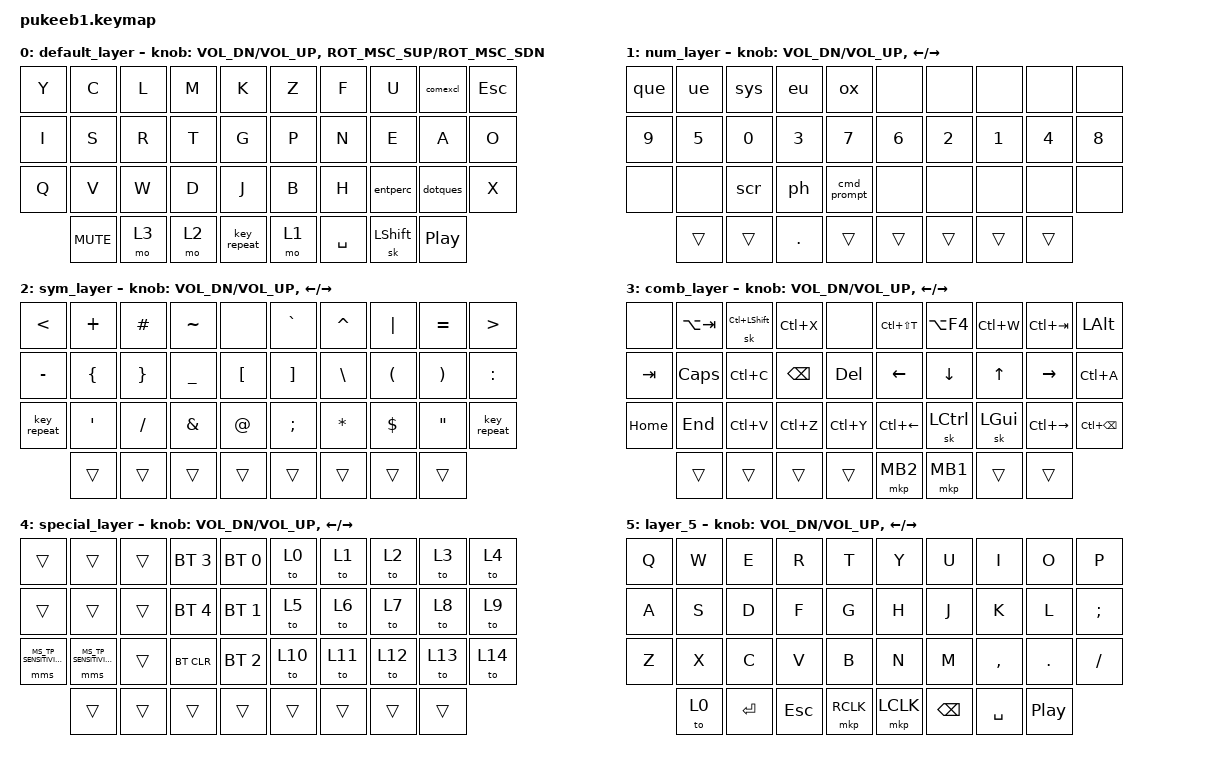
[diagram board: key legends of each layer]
// Copyright (c) 2022 The ZMK Contributors
// SPDX-License-Identifier: MIT

#include <behaviors.dtsi>
#include <dt-bindings/zmk/keys.h>
#include <dt-bindings/zmk/mouse.h>
#include <dt-bindings/zmk/bt.h>

// Rotary Endocer for mouse scrolling
#define ROT_MSC_VAL 280
#define ROT_MSC_SUP MOVE_Y(ROT_MSC_VAL)
#define ROT_MSC_SDN MOVE_Y(-ROT_MSC_VAL)
#define ROT_MSC_SLT MOVE_X(-ROT_MSC_VAL)
#define ROT_MSC_SRT MOVE_X(ROT_MSC_VAL)


#define U_MSS_TP_S_I &mms MS_TP_SENSITIVITY_INCR
#define U_MSS_TP_S_D &mms MS_TP_SENSITIVITY_DECR

/ {
	behaviors {
        ht: hold_tap {
            display-name = "Hold Tap";
            label = "hold_tap";
            compatible = "zmk,behavior-hold-tap";
            #binding-cells = <2>;
            flavor = "balanced";
            tapping-term-ms = <220>;
            quick-tap-ms = <200>;
            // global-quick-tap;
            bindings = <&kp>, <&kp>;
        };
        lt: layer_tap {
            display-name = "Layer Tap";
            compatible = "zmk,behavior-hold-tap";
            label = "LAYER_TAP";
            #binding-cells = <2>;
            // flavor = "balanced";
            tapping-term-ms = <200>;
            quick-tap-ms = <200>;
            // global-quick-tap;
            bindings = <&mo>, <&kp>;
        };
        rot_msc: sensor_rotate_msc {
            compatible = "zmk,behavior-sensor-rotate-var";
            #sensor-binding-cells = <2>;
            bindings = <&msc>, <&msc>;
            tap-ms = <20>;
        };
        comexcl: comma_excl {
            compatible = "zmk,behavior-mod-morph";
            #binding-cells = <0>;
            bindings = <&kp COMMA>, <&kp EXCL>;
            mods = <(MOD_LSFT)>;
        };
        dotques: dot_question {
            compatible = "zmk,behavior-mod-morph";
            #binding-cells = <0>;
            bindings = <&kp DOT>, <&kp QUESTION>;
            mods = <(MOD_LSFT)>;
        };
        entperc: enter_percentage {
            compatible = "zmk,behavior-mod-morph";
            #binding-cells = <0>;
            bindings = <&kp ENTER>, <&kp PERCENT>;
            mods = <(MOD_LSFT)>;
        };
    };

    combos {
        compatible = "zmk,combos";
        combo_tab {
            timeout-ms = <50>;
            key-positions = <2 3>;
            bindings = <&kp TAB>;
        };
        middle_click {
            timeout-ms = <50>;
            key-positions = <33 34>;
            bindings = <&mkp MCLK>;
        };
    };

    macros {
        ue: ue {
            compatible = "zmk,behavior-macro";
            #binding-cells = <0>;
            bindings = <&macro_tap &kp U &kp E>;
        };
        eu: eu {
            compatible = "zmk,behavior-macro";
            #binding-cells = <0>;
            bindings = <&macro_tap &kp E &kp U>;
        };
        ox: ox {
            compatible = "zmk,behavior-macro";
            #binding-cells = <0>;
            bindings = <&macro_tap &kp O &kp X>;
        };
        ph: ph {
            compatible = "zmk,behavior-macro";
            #binding-cells = <0>;
            bindings = <&macro_tap &kp P &kp H>;
        };
        que: que {
            compatible = "zmk,behavior-macro";
            #binding-cells = <0>;
            bindings = <&macro_tap &kp Q &kp U &kp E>;
        };
        sys: sys {
            compatible = "zmk,behavior-macro";
            #binding-cells = <0>;
            bindings = <&macro_tap &kp S &kp Y &kp S>;
        };
        scr: scr{
            compatible = "zmk,behavior-macro";
            #binding-cells = <0>;
            bindings = <&macro_tap &kp S &kp C &kp R>;
        };
        cmd_prompt: cmd_prompt {
            compatible = "zmk,behavior-macro";
            #binding-cells = <0>;  
            bindings 
                = <&macro_tap &kp LG(R)>
                , <&macro_tap &kp C &kp M &kp D>
                , <&macro_tap &kp ENTER>
                ;
        };
    };

    conditional_layers {
        compatible = "zmk,conditional-layers";
        special_layer {
            if-layers = <1 2>;
            then-layer = <4>;
        };
    };

    keymap {
        compatible = "zmk,keymap";
        default_layer {
            bindings = <
        //╭──────────┬──────────┬──────────┬──────────┬──────────╮   ╭──────────┬──────────┬──────────┬──────────┬──────────╮
        //│  Y       │  C       │  L       │  M       │  K       │   │  Z       │  F       │  U       │  , !     │   ESC    │
            &kp Y      &kp C      &kp L      &kp M      &kp K          &kp Z      &kp F      &kp U      &comexcl   &kp ESC
        //├──────────┼──────────┼──────────┼──────────┼──────────┤   ├──────────┼──────────┼──────────┼──────────┼──────────┤
        //│  I       │  S       │  R       │  T       │  G       │   │  P       │  N       │  E       │  A       │   O      │
            &kp I      &kp S      &kp R      &kp T      &kp G          &kp P      &kp N      &kp E      &kp A      &kp O
        //├──────────┼──────────┼──────────┼──────────┼──────────┤   ├──────────┼──────────┼──────────┼──────────┼──────────┤
        //│  Q       │  V       │  W       │  D       │  J       │   │  B       │  H       │  ENTER % │  . ?     │   X      |
            &kp Q      &kp V      &kp W      &kp D      &kp J          &kp B      &kp H      &entperc   &dotques   &kp X
        //╰──────────┴──────────┴──────────┼──────────┼──────────┤   ├──────────┼──────────┼──────────┴──────────┴──────────╯
                       &kp C_MUTE &mo 3      &mo 2      &key_repeat    &mo  1     &kp SPACE  &sk LSHIFT &kp C_PP
        //           ╰──────────┴──────────┴──────────┴──────────╯   ╰──────────┴──────────┴──────────┴──────────╯
            >;
            // sensor-bindings = <&inc_dec_kp C_VOL_DN C_VOL_UP &inc_dec_kp LEFT RIGHT>;
            // sensor-bindings = <&rot_msc ROT_MSC_SUP ROT_MSC_SDN &rot_msc ROT_MSC_SLT ROT_MSC_SRT>;
            sensor-bindings = <&inc_dec_kp C_VOL_DN C_VOL_UP &rot_msc ROT_MSC_SUP ROT_MSC_SDN>;
        };

        num_layer {
            bindings = <
        //╭──────────┬──────────┬──────────┬──────────┬──────────╮   ╭──────────┬──────────┬──────────┬──────────┬──────────╮
        //│          |          │          │          │          │   │          │          │          │          │          │
            &que        &ue        &sys       &eu       &ox          &none     &none       &none      &none      &none   
        //├──────────┼──────────┼──────────┼──────────┼──────────┤   ├──────────┼──────────┼──────────┼──────────┼──────────┤
        //│ 9        │ 5        │  0       │  3       │ 7        │   │ 6        │ 2        │ 1        │ 4        │  8       │
            &kp N9     &kp N5      &kp N0     &kp N3    &kp N7         &kp N6     &kp N2     &kp N1     &kp N4     &kp N8   
        //├──────────┼──────────┼──────────┼──────────┼──────────┤   ├──────────┼──────────┼──────────┼──────────┼──────────┤
        //│          |          │          │          │          │   │          │          │          │          │          │
            &none      &none       &scr       &ph       &cmd_prompt    &none      &none       &none      &none     &none   
        //╰──────────┴──────────┴──────────┼──────────┼──────────┤   ├──────────┼──────────┼──────────┴──────────┴──────────╯
                        &trans     &trans    &kp DOT    &trans         &trans     &trans     &trans      &trans
        //           ╰──────────┴──────────┴──────────┴──────────╯   ╰──────────┴──────────┴──────────┴──────────╯
            >;
            sensor-bindings = <&inc_dec_kp C_VOL_DN C_VOL_UP &inc_dec_kp LEFT RIGHT>;
        };

        sym_layer {
            bindings = <
        //╭──────────┬──────────┬──────────┬──────────┬──────────╮   ╭──────────┬──────────┬──────────┬──────────┬──────────╮
        //│  <       │  +       │  #       │  ~       │          │   │  `       │  ^       │  |       │  =       │  >       │
            &kp LT      &kp PLUS   &kp HASH   &kp TILDE  &none          &kp GRAVE &kp CARET  &kp PIPE   &kp EQUAL  &kp GT
        //├──────────┼──────────┼──────────┼──────────┼──────────┤   ├──────────┼──────────┼──────────┼──────────┼──────────┤
        //│  -       │  {       │  }       │  _       │  [       │   │  ]       │  \       │  (       │  )       │  :       │  
            &kp MINUS   &kp LBRC   &kp RBRC   &kp UNDER &kp LBKT       &kp RBKT   &kp BSLH   &kp LPAR   &kp RPAR   &kp COLON
        //├──────────┼──────────┼──────────┼──────────┼──────────┤   ├──────────┼──────────┼──────────┼──────────┼──────────┤
        //│  repeat  │  '       │  /       │  &       │  @       │   │  ;       │  *       │  $       │  "       │  repeat  |
            &key_repeat &kp APOS   &kp FSLH   &kp AMPS  &kp AT         &kp SEMI   &kp ASTRK  &kp DLLR   &kp DQT    &key_repeat
        //╰──────────┴──────────┴──────────┼──────────┼──────────┤   ├──────────┼──────────┼──────────┴──────────┴──────────╯
                        &trans     &trans     &trans    &trans         &trans     &trans     &trans     &trans
        //           ╰──────────┴──────────┴──────────┴──────────╯   ╰──────────┴──────────┴──────────┴──────────╯
            >;
            sensor-bindings = <&inc_dec_kp C_VOL_DN C_VOL_UP &inc_dec_kp LEFT RIGHT>;
        };

        comb_layer {
            bindings = <
        //╭──────────┬─────────────────┬────────────────┬────────────────────┬─────────────╮   ╭──────────────┬───────────────┬─────────────┬─────────────────┬────────────────╮
        //│          | Toggle Program  │  Ctrl + Shift  │  Cut               │             │   │ Reopen Tab   │ Close Program │ Close Tab   │  Switch Tab     │ LALT           │
            &none      &kp LA(TAB)        &sk LC(LSHIFT)    &kp LC(X)           &none              &kp LC(LS(T))   &kp LA(F4)   &kp LC(W)     &kp LC(TAB)       &kp LALT 
        //├──────────┼─────────────────┼────────────────┼────────────────────┼─────────────┤   ├──────────────┼───────────────┼─────────────┼─────────────────┼────────────────┤
        //│ TAB      │  CAPS           │  Copy          │  BACKSPACE         │ DELETE      │   │ Left         │ Down          │ Up          │ Right           │ Select All     │
            &kp TAB    &kp CAPS           &kp LC(C)         &kp BACKSPACE       &kp DEL            &kp LEFT        &kp DOWN        &kp UP        &kp RIGHT         &kp LC(A)
        //├──────────┼─────────────────┼────────────────┼────────────────────┼─────────────┤   ├──────────────┼───────────────┼─────────────┼─────────────────┼────────────────┤
        //│ HOME     │  END            │  Paste         │  Undo              │ Redo        │   │ One Word Left│ Sticky LCTRL  │ Sticky LGUI │ One Word Right  │ Delete Word    │
            &kp HOME   &kp END            &kp LC(V)        &kp LC(Z)           &kp LC(Y)          &kp LC(LEFT)    &sk LCTRL       &sk LGUI      &kp LC(RIGHT)     &kp LC(BACKSPACE)
        //╰──────────┴─────────────────┴────────────────┼────────────────────┼─────────────┤   ├──────────────┼───────────────┼─────────────┴─────────────────┴────────────────╯
                        &trans            &trans           &trans              &trans             &mkp MB2        &mkp MB1        &trans        &trans
        //           ╰─────────────────┴────────────────┴────────────────────┴─────────────╯   ╰──────────────┴───────────────┴─────────────┴─────────────────╯ 
            >;
            sensor-bindings = <&inc_dec_kp C_VOL_DN C_VOL_UP &inc_dec_kp LEFT RIGHT>;
        };

        special_layer {
            bindings = <
        //╭──────────────┬──────────────┬──────────┬─────────────┬────────────╮   ╭──────────┬──────────┬──────────┬──────────┬──────────╮
        //│              │              │          │ PROFILE 3   │PROFILE 0   │   │          │          │          │          │          │
           &trans           &trans        &trans     &bt BT_SEL 3 &bt BT_SEL 0      &to 0     &to 1       &to 2      &to 3      &to 4
        //├──────────────┼──────────────┼──────────┼─────────────┼────────────┤   ├──────────┼──────────┼──────────┼──────────┼──────────┤
        //│              │              │          │ PROFILE 4   │PROFILE 1   │   │          │          │          │          │          │
           &trans           &trans        &trans    &bt BT_SEL 4  &bt BT_SEL 1      &to 5     &to 6       &to 7      &to 8      &to 9
        //├──────────────┼──────────────┼──────────┼─────────────┼────────────┤   ├──────────┼──────────┼──────────┼──────────┼──────────┤
        //│              │              │          │ CLEAR BT    │PROFILE 2   │   │          │          │          │          │          │
           U_MSS_TP_S_D    U_MSS_TP_S_I   &trans    &bt BT_CLR    &bt BT_SEL 2      &to 10    &to 11      &to 12     &to 13     &to 14
        //╰──────────────┴──────────────┴──────────┼─────────────┼────────────┤   ├──────────┼──────────┼──────────┴──────────┴──────────╯
                            &trans        &trans    &trans        &trans            &trans     &trans     &trans     &trans
        //               ╰──────────────┴──────────┴─────────────┴────────────╯   ╰──────────┴──────────┴──────────┴──────────╯
            >;
            sensor-bindings = <&inc_dec_kp C_VOL_DN C_VOL_UP &inc_dec_kp LEFT RIGHT>;
        };

        layer_5 {
            bindings = <
        //╭──────────┬──────────┬──────────┬──────────┬──────────╮   ╭──────────┬──────────┬──────────┬──────────┬──────────╮
        //│  Q       │  W       │  E       │  R       │  T       │   │  Y       │  U       │  I       │  O       │  P       │
            &kp Q      &kp W      &kp E      &kp R      &kp T          &kp Y      &kp U      &kp I      &kp O      &kp P
        //├──────────┼──────────┼──────────┼──────────┼──────────┤   ├──────────┼──────────┼──────────┼──────────┼──────────┤
        //│  A       │  S       │  D       │  F       │  G       │   │  H       │  J       │  K       │  L       │ ; :      │
            &kp A      &kp S      &kp D      &kp F      &kp G          &kp H      &kp J      &kp K      &kp L      &kp SEMI
        //├──────────┼──────────┼──────────┼──────────┼──────────┤   ├──────────┼──────────┼──────────┼──────────┼──────────┤
        //│  Z       │  X       │  C       │  V       │  B       │   │  N       │  M       │ , <      │ . >      │ / ?      │
            &kp Z      &kp X      &kp C      &kp V      &kp B          &kp N      &kp M      &kp COMMA  &kp DOT    &kp FSLH
        //╰──────────┴──────────┴──────────┼──────────┼──────────┤   ├──────────┼──────────┼──────────┴──────────┴──────────╯
                       &to 0      &kp ENTER  &kp ESC    &mkp RCLK      &mkp LCLK  &kp BSPC   &kp SPACE  &kp C_PP
        //                                 ╰──────────┴──────────╯   ╰──────────┴──────────╯
            >;
            sensor-bindings = <&inc_dec_kp C_VOL_DN C_VOL_UP &inc_dec_kp LEFT RIGHT>;
        };
    };
};
